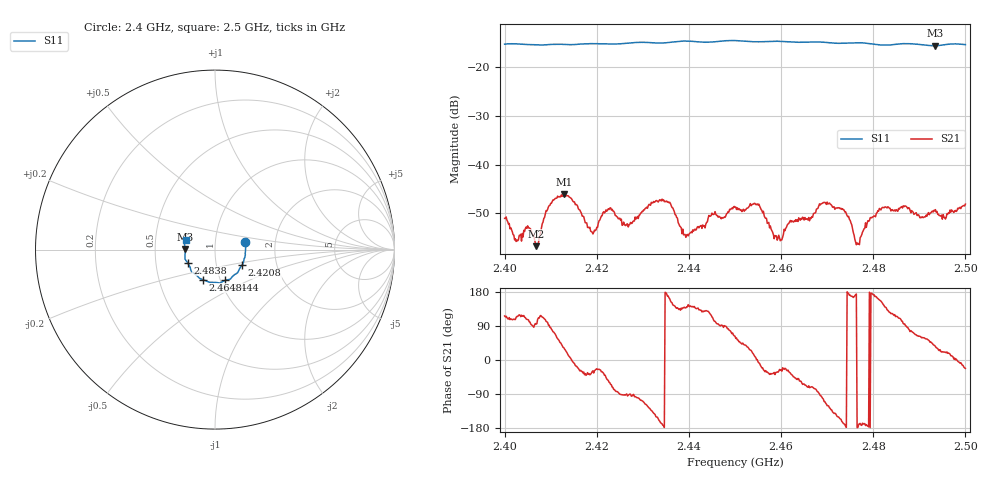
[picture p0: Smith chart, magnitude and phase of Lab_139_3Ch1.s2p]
# Hz S RI R 50
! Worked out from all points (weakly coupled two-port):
!   601 points, 2.4 GHz to 2.5 GHz, reference 50 ohm
!   highest |S21| = -46.04 dB at 2.4128 GHz (marker M1); lowest = -56.7 dB at 2.4068 GHz (marker M2)
!   lowest |S11| = -15.6 dB at 2.4935 GHz (marker M3), VSWR 1.40, Z = 35.8 + j0.214 ohm
!   |S11| at or under -10 dB: start of sweep to end of sweep
!   S12 and S22 are empty: the file has one direction only
!   S11 on the Smith chart (normalised r, x): 2.4 GHz: 1.40, +0.12; 2.4208 GHz: 1.33, -0.24; 2.444 GHz: 1.06, -0.37; 2.4648 GHz: 0.83, -0.29; 2.4838 GHz: 0.73, -0.11; 2.5 GHz: 0.72, +0.08
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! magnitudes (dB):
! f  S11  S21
! 2.4 GHz  -15.3  -51.0
! 2.4068 GHz  -15.4  -56.7
! 2.4095 GHz  -15.4  -48.7
! 2.4128 GHz  -15.3  -46.0
! 2.4167 GHz  -15.2  -50.0
! 2.4192 GHz  -15.2  -54.2
! 2.4208 GHz  -15.2  -50.9
! 2.4267 GHz  -15.1  -52.2
! 2.4333 GHz  -15.0  -47.7
! 2.4393 GHz  -14.6  -54.9
! 2.444 GHz  -14.9  -51.8
! 2.45 GHz  -14.5  -48.8
! 2.4548 GHz  -14.8  -48.1
! 2.4597 GHz  -14.7  -55.1
! 2.4648 GHz  -14.9  -50.9
! 2.4667 GHz  -14.8  -50.7
! 2.4732 GHz  -15.1  -49.2
! 2.4765 GHz  -15.0  -56.1
! 2.4833 GHz  -15.5  -48.8
! 2.4838 GHz  -15.4  -49.5
! 2.4935 GHz  -15.6  -49.2
! 2.5 GHz  -15.4  -48.1
